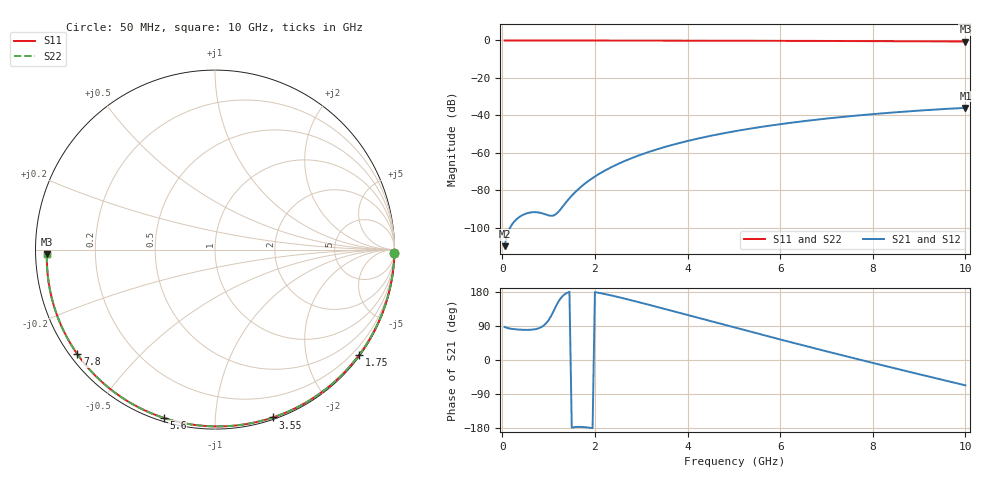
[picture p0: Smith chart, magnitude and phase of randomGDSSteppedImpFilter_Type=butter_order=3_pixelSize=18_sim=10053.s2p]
! freq	dB(S11)	phase(S11)	dB(S12)	phase(S12)
!  dB(S21)	phase(S21)	dB(S22)	phase(S22)
!S-par simulation data
#  GHz  S  DB  R 50
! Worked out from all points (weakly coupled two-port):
!   200 points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, 50 MHz to 10 GHz, reference 50 ohm
!   highest |S21| = -35.97 dB at 10 GHz (marker M1); lowest = -109.8 dB at 50 MHz (marker M2)
!   lowest |S11| = -0.6 dB at 10 GHz (marker M3), VSWR 30.74, Z = 1.63 - j0.659 ohm
!   |S11| at or under -10 dB: nowhere
!   |S22| runs from -0.6 to 0.0 dB; largest |S21 - S12| = 0
!   S11 on the Smith chart (normalised r, x): 50 MHz: open; 1.75 GHz: 0.03, -3.06; 3.55 GHz: 0.02, -1.40; 5.6 GHz: 0.02, -0.74; 7.8 GHz: 0.02, -0.34; 10 GHz: 0.03, -0.01
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0.05  -0.00 -1.1  -109.81 87.1  -109.81 87.1  -0.00 -1.1
0.4  -0.01 -8.4  -93.72 79.9  -93.72 79.9  -0.01 -8.4
0.8  -0.02 -16.8  -91.90 84.4  -91.90 84.4  -0.02 -16.8
1.2  -0.03 -25.0  -91.79 151.5  -91.79 151.5  -0.03 -25.0
1.6  -0.04 -33.1  -80.34 -176.7  -80.34 -176.7  -0.04 -33.1
1.75  -0.05 -36.2  -77.08 -176.9  -77.08 -176.9  -0.05 -36.2
2.05  -0.05 -42.2  -71.84 178.1  -71.84 178.1  -0.05 -42.2
2.25  -0.06 -46.1  -68.99 173.2  -68.99 173.2  -0.06 -46.1
2.45  -0.06 -50.0  -66.49 167.7  -66.49 167.7  -0.06 -50.0
2.9  -0.08 -58.7  -61.81 154.1  -61.81 154.1  -0.08 -58.7
3.4  -0.09 -68.2  -57.66 138.2  -57.66 138.2  -0.09 -68.2
3.55  -0.09 -71.0  -56.58 133.4  -56.58 133.4  -0.09 -71.0
4.3  -0.12 -84.6  -51.95 108.9  -51.95 108.9  -0.12 -84.6
5.05  -0.15 -97.7  -48.32 84.6  -48.32 84.6  -0.15 -97.7
5.6  -0.18 -107.0  -46.11 66.9  -46.11 66.9  -0.18 -107.0
6.15  -0.21 -116.1  -44.19 49.5  -44.19 49.5  -0.21 -116.1
6.7  -0.24 -125.1  -42.52 32.2  -42.52 32.2  -0.24 -125.1
7.25  -0.28 -133.9  -41.06 15.2  -41.06 15.2  -0.28 -133.9
7.8  -0.33 -142.7  -39.76 -1.6  -39.76 -1.6  -0.33 -142.7
8.35  -0.38 -151.5  -38.62 -18.2  -38.62 -18.2  -0.38 -151.5
9.2  -0.47 -165.2  -37.12 -43.5  -37.12 -43.5  -0.47 -165.2
10  -0.57 -178.5  -35.97 -66.9  -35.97 -66.9  -0.57 -178.5
